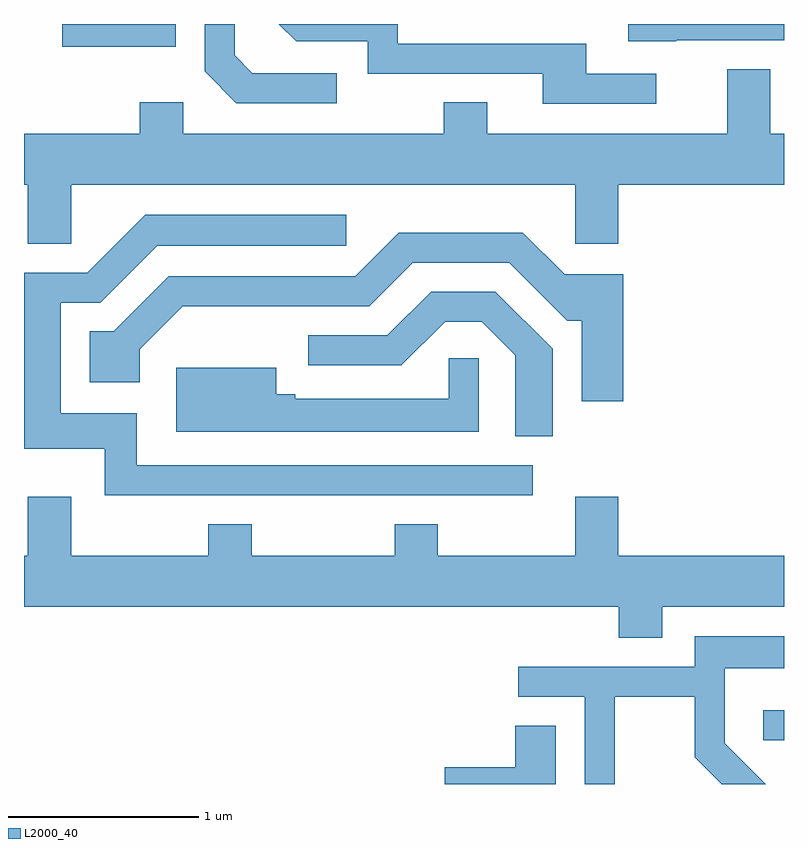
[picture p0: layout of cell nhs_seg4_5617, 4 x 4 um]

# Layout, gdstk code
import gdstk
lib = gdstk.Library(unit=1e-6, precision=1e-09)
def R(c, l, rs):  # rectangles x0, y0, x1, y1
    for r in rs: c.add(gdstk.rectangle(r[:2], r[2:], *l))
def P(c, l, *ps):  # polygons
    for p in ps: c.add(gdstk.Polygon(p, *l))
L2000_40 = (2000, 40)

nhs_seg4_5617 = lib.new_cell('nhs_seg4_5617')
R(nhs_seg4_5617, L2000_40, [(353.503,1336.211,353.611,1336.369), (349.811,1339.861,350.409,1339.982)])
P(nhs_seg4_5617, L2000_40, [(351.258,1339.724),(350.812,1339.724),(350.719,1339.817),(350.719,1339.982),(350.561,1339.982),(350.561,1339.734),(350.729,1339.566),(351.258,1339.566)],
  [(353.045,1339.896),(353.611,1339.896),(353.611,1339.982),(352.791,1339.982),(352.791,1339.891),(353.045,1339.891)],
  [(352.938,1339.719),(352.569,1339.719),(352.569,1339.879),(351.579,1339.879),(351.579,1339.982),(350.953,1339.982),(351.044,1339.891),(351.421,1339.891),(351.421,1339.721),(352.341,1339.721),(352.341,1339.561),(352.938,1339.561)],
  [(349.859,1339.136),(352.511,1339.136),(352.511,1338.826),(352.739,1338.826),(352.739,1339.136),(353.611,1339.136),(353.611,1339.404),(353.539,1339.404),(353.539,1339.744),(353.311,1339.744),(353.311,1339.404),(352.049,1339.404),(352.049,1339.569),(351.821,1339.569),(351.821,1339.404),(350.449,1339.404),(350.449,1339.569),(350.221,1339.569),(350.221,1339.404),(349.611,1339.404),(349.611,1339.136),(349.631,1339.136),(349.631,1338.826),(349.859,1338.826)],
  [(352.288,1337.659),(350.204,1337.659),(350.204,1337.934),(349.804,1337.934),(349.804,1338.516),(350.012,1338.516),(350.312,1338.816),(351.308,1338.816),(351.308,1338.979),(350.249,1338.979),(349.944,1338.674),(349.611,1338.674),(349.611,1337.746),(350.036,1337.746),(350.036,1337.501),(352.288,1337.501)],
  [(352.764,1338.664),(352.457,1338.664),(352.237,1338.884),(351.584,1338.884),(351.354,1338.654),(350.374,1338.654),(350.084,1338.364),(349.956,1338.364),(349.956,1338.096),(350.219,1338.096),(350.219,1338.269),(350.447,1338.496),(351.427,1338.496),(351.657,1338.726),(352.164,1338.726),(352.469,1338.421),(352.546,1338.421),(352.546,1337.996),(352.764,1337.996)],
  [(352.394,1338.272),(352.092,1338.574),(351.754,1338.574),(351.524,1338.344),(351.108,1338.344),(351.108,1338.186),(351.597,1338.186),(351.827,1338.416),(352.019,1338.416),(352.196,1338.239),(352.196,1337.811),(352.394,1337.811)],
  [(352.004,1338.223),(351.846,1338.223),(351.846,1338.009),(351.039,1338.009),(351.039,1338.034),(350.939,1338.034),(350.939,1338.174),(350.411,1338.174),(350.411,1337.836),(352.004,1337.836)],
  [(352.969,1336.916),(353.611,1336.916),(353.611,1337.184),(352.739,1337.184),(352.739,1337.494),(352.511,1337.494),(352.511,1337.184),(351.789,1337.184),(351.789,1337.349),(351.561,1337.349),(351.561,1337.184),(350.809,1337.184),(350.809,1337.349),(350.581,1337.349),(350.581,1337.184),(349.859,1337.184),(349.859,1337.494),(349.631,1337.494),(349.631,1337.184),(349.611,1337.184),(349.611,1336.916),(352.741,1336.916),(352.741,1336.751),(352.969,1336.751)],
  [(352.719,1336.441),(353.141,1336.441),(353.141,1336.124),(353.283,1335.982),(353.514,1335.982),(353.299,1336.197),(353.299,1336.591),(353.611,1336.591),(353.611,1336.759),(353.141,1336.759),(353.141,1336.599),(352.213,1336.599),(352.213,1336.441),(352.561,1336.441),(352.561,1335.982),(352.719,1335.982)],
  [(352.409,1336.289),(352.196,1336.289),(352.196,1336.069),(351.826,1336.069),(351.826,1335.982),(352.409,1335.982)])

lib.write_gds('nhs_seg4_5617.gds')
